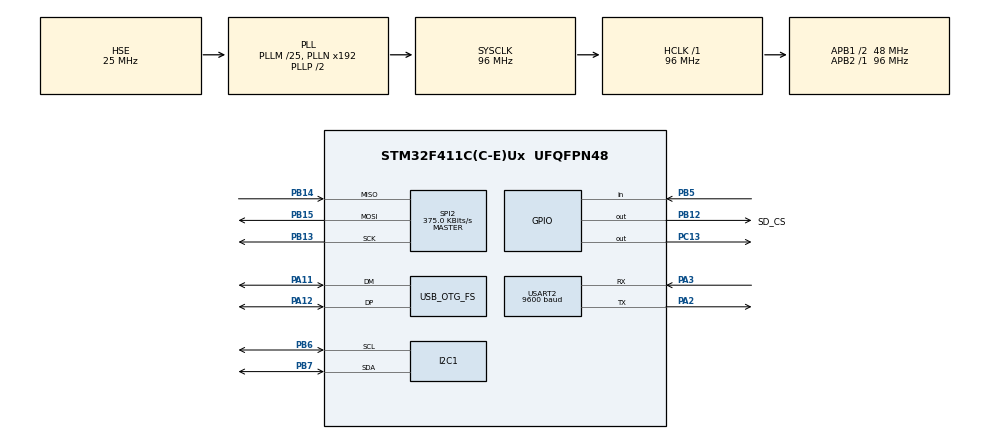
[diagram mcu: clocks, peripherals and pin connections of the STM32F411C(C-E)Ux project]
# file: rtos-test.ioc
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FREERTOS.Tasks01=blink01,24,512,StartBlink01,Default,NULL,Dynamic,NULL,NULL
FREERTOS.configCHECK_FOR_STACK_OVERFLOW=1
FREERTOS.configENABLE_FPU=1
FREERTOS.configUSE_NEWLIB_REENTRANT=1
I2C1.I2C_Mode=I2C_Fast
Mcu.Family=STM32F4
Mcu.Name=STM32F411C(C-E)Ux
Mcu.Package=UFQFPN48
NVIC.OTG_FS_IRQn=true\:5\:0\:false\:false\:true\:true\:false\:true\:true
NVIC.PriorityGroup=NVIC_PRIORITYGROUP_4
NVIC.TIM4_IRQn=true\:15\:0\:false\:false\:true\:false\:false\:true\:true
NVIC.TimeBase=TIM4_IRQn
NVIC.TimeBaseIP=TIM4
NVIC.USART2_IRQn=true\:5\:0\:false\:false\:true\:true\:true\:true\:true
PA11.Mode=Device_Only
PA11.Signal=USB_OTG_FS_DM
PA12.Mode=Device_Only
PA12.Signal=USB_OTG_FS_DP
PA2.Mode=Asynchronous
PA2.Signal=USART2_TX
PA3.Mode=Asynchronous
PA3.Signal=USART2_RX
PB12.GPIO_Label=SD_CS
PB12.Signal=GPIO_Output
PB13.GPIO_PuPd=GPIO_NOPULL
PB13.Mode=Full_Duplex_Master
PB13.Signal=SPI2_SCK
PB14.GPIO_PuPd=GPIO_NOPULL
PB14.Mode=Full_Duplex_Master
PB14.Signal=SPI2_MISO
PB15.GPIO_PuPd=GPIO_NOPULL
PB15.Mode=Full_Duplex_Master
PB15.Signal=SPI2_MOSI
PB5.Signal=GPIO_Input
PB6.Mode=I2C
PB6.Signal=I2C1_SCL
PB7.Mode=I2C
PB7.Signal=I2C1_SDA
PC13-ANTI_TAMP.Signal=GPIO_Output
PC14-OSC32_IN.Mode=LSE-External-Oscillator
PC14-OSC32_IN.Signal=RCC_OSC32_IN
PC15-OSC32_OUT.Mode=LSE-External-Oscillator
PC15-OSC32_OUT.Signal=RCC_OSC32_OUT
PH0\ -\ OSC_IN.Mode=HSE-External-Oscillator
PH0\ -\ OSC_IN.Signal=RCC_OSC_IN
PH1\ -\ OSC_OUT.Mode=HSE-External-Oscillator
PH1\ -\ OSC_OUT.Signal=RCC_OSC_OUT
ProjectManager.HeapSize=0x7D00
ProjectManager.StackSize=0x7D00
ProjectManager.TargetToolchain=STM32CubeIDE
RCC.48MHZClocksFreq_Value=48000000
RCC.AHBFreq_Value=96000000
RCC.APB1CLKDivider=RCC_HCLK_DIV2
RCC.APB1Freq_Value=48000000
RCC.APB1TimFreq_Value=96000000
RCC.APB2Freq_Value=96000000
RCC.APB2TimFreq_Value=96000000
RCC.CortexFreq_Value=96000000
RCC.HCLKFreq_Value=96000000
RCC.HSE_VALUE=25000000
RCC.HSI_VALUE=16000000
RCC.PLLM=25
RCC.SYSCLKFreq_VALUE=96000000
RCC.SYSCLKSource=RCC_SYSCLKSOURCE_PLLCLK
RCC.VCOOutputFreq_Value=192000000
SPI2.BaudRatePrescaler=SPI_BAUDRATEPRESCALER_128
SPI2.CalculateBaudRate=375.0 KBits/s
SPI2.Direction=SPI_DIRECTION_2LINES
SPI2.Mode=SPI_MODE_MASTER
SPI2.VirtualType=VM_MASTER
USART2.BaudRate=9600
USART2.VirtualMode=VM_ASYNC
USB_DEVICE.CLASS_NAME_FS=CDC
USB_DEVICE.VirtualMode=Cdc
USB_DEVICE.VirtualModeFS=Cdc_FS
USB_OTG_FS.VirtualMode=Device_Only
VP_FATFS_VS_Generic.Mode=User_defined
VP_FREERTOS_VS_CMSIS_V2.Mode=CMSIS_V2
VP_SYS_VS_tim4.Mode=TIM4
VP_USB_DEVICE_VS_USB_DEVICE_CDC_FS.Mode=CDC_FS
board=custom

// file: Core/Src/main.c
/* USER CODE BEGIN Header */
/**
  ******************************************************************************
  * @file           : main.c
  * @brief          : Main program body
  ******************************************************************************
  * @attention
  *
  * Copyright (c) 2024 STMicroelectronics.
  * All rights reserved.
  *
  * This software is licensed under terms that can be found in the LICENSE file
  * in the root directory of this software component.
  * If no LICENSE file comes with this software, it is provided AS-IS.
  *
  ******************************************************************************
  */
/* USER CODE END Header */
#include "main.h"
#include "cmsis_os.h"
#include "fatfs.h"
#include "i2c.h"
#include "spi.h"
#include "usart.h"
#include "usb_device.h"
#include "gpio.h"

/* USER CODE BEGIN Includes */
#include "sensor_hal/gps.h"
#include "sensor_hal/lsm6dso.h"
#include "sensor_hal/mpu6050.h"
/* USER CODE END Includes */

void SystemClock_Config(void);
void MX_FREERTOS_Init(void);

/* USER CODE BEGIN 0 */
void HAL_UART_RxCpltCallback(UART_HandleTypeDef *huart)
{
	if (huart == &huart2) GPS_UART_CallBack();
}
/* USER CODE END 0 */

int main(void)
{

  /* MCU Configuration--------------------------------------------------------*/

  /* Reset of all peripherals, Initializes the Flash interface and the Systick. */
  HAL_Init();

  /* Configure the system clock */
  SystemClock_Config();

  /* Initialize all configured peripherals */
  MX_GPIO_Init();
  MX_SPI2_Init();
  MX_FATFS_Init();
  MX_USART2_UART_Init();
  MX_I2C1_Init();
  /* USER CODE BEGIN 2 */
  MX_USB_DEVICE_Init();
  // GPS_Init();
  lsm6dsox_read_data_drdy_init();

  /* USER CODE END 2 */

  /* Init scheduler */
  osKernelInitialize();

  /* Call init function for freertos objects (in cmsis_os2.c) */
  MX_FREERTOS_Init();

  /* Start scheduler */
  osKernelStart();

  /* We should never get here as control is now taken by the scheduler */

  /* Infinite loop */
  while (1)
  {

  }
}

void SystemClock_Config(void)
{
  RCC_OscInitTypeDef RCC_OscInitStruct = {0};
  RCC_ClkInitTypeDef RCC_ClkInitStruct = {0};

  /** Configure the main internal regulator output voltage
  */
  __HAL_RCC_PWR_CLK_ENABLE();
  __HAL_PWR_VOLTAGESCALING_CONFIG(PWR_REGULATOR_VOLTAGE_SCALE1);

  /** Initializes the RCC Oscillators according to the specified parameters
  * in the RCC_OscInitTypeDef structure.
  */
  RCC_OscInitStruct.OscillatorType = RCC_OSCILLATORTYPE_HSE;
  RCC_OscInitStruct.HSEState = RCC_HSE_ON;
  RCC_OscInitStruct.PLL.PLLState = RCC_PLL_ON;
  RCC_OscInitStruct.PLL.PLLSource = RCC_PLLSOURCE_HSE;
  RCC_OscInitStruct.PLL.PLLM = 25;
  RCC_OscInitStruct.PLL.PLLN = 192;
  RCC_OscInitStruct.PLL.PLLP = RCC_PLLP_DIV2;
  RCC_OscInitStruct.PLL.PLLQ = 4;
  if (HAL_RCC_OscConfig(&RCC_OscInitStruct) != HAL_OK)
  {
    Error_Handler();
  }

  /** Initializes the CPU, AHB and APB buses clocks
  */
  RCC_ClkInitStruct.ClockType = RCC_CLOCKTYPE_HCLK|RCC_CLOCKTYPE_SYSCLK
                              |RCC_CLOCKTYPE_PCLK1|RCC_CLOCKTYPE_PCLK2;
  RCC_ClkInitStruct.SYSCLKSource = RCC_SYSCLKSOURCE_PLLCLK;
  RCC_ClkInitStruct.AHBCLKDivider = RCC_SYSCLK_DIV1;
  RCC_ClkInitStruct.APB1CLKDivider = RCC_HCLK_DIV2;
  RCC_ClkInitStruct.APB2CLKDivider = RCC_HCLK_DIV1;

  if (HAL_RCC_ClockConfig(&RCC_ClkInitStruct, FLASH_LATENCY_3) != HAL_OK)
  {
    Error_Handler();
  }
}

void HAL_TIM_PeriodElapsedCallback(TIM_HandleTypeDef *htim)
{
  if (htim->Instance == TIM4) {
    HAL_IncTick();
  }
}

void Error_Handler(void)
{
  __disable_irq();
  while (1)
  {
  }
}

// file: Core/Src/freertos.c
/* USER CODE BEGIN Header */
/**
  ******************************************************************************
  * File Name          : freertos.c
  * Description        : Code for freertos applications
  ******************************************************************************
  * @attention
  *
  * Copyright (c) 2024 STMicroelectronics.
  * All rights reserved.
  *
  * This software is licensed under terms that can be found in the LICENSE file
  * in the root directory of this software component.
  * If no LICENSE file comes with this software, it is provided AS-IS.
  *
  ******************************************************************************
  */
/* USER CODE END Header */

#include "FreeRTOS.h"
#include "task.h"
#include "main.h"
#include "cmsis_os.h"

/* USER CODE BEGIN Includes */
#include "sensor_hal/gps.h"
#include "sensor_hal/lsm6dso.h"
#include "sensor_hal/mpu6050.h"
#include "utils.h"
#include <stdbool.h>
#include <stdio.h>
#include <math.h>

#include "user/logging.h"
/* USER CODE END Includes */

/* USER CODE BEGIN Variables */
extern GPS_t GPS;
MPU6050_t MPU6050;
/* USER CODE END Variables */
/* Definitions for blink01 */
osThreadId_t blink01Handle;
const osThreadAttr_t blink01_attributes = {
  .name = "blink01",
  .stack_size = 512 * 4,
  .priority = (osPriority_t) osPriorityNormal,
};

/* USER CODE BEGIN FunctionPrototypes */
osThreadId_t loggingTaskHandle;
const osThreadAttr_t loggingTask_attributes = {
  .name = "loggingTask",
  .stack_size = 1024 * 4,
  .priority = (osPriority_t) osPriorityAboveNormal,
};
/* USER CODE END FunctionPrototypes */

void StartBlink01(void *argument);

extern void MX_USB_DEVICE_Init(void);
void MX_FREERTOS_Init(void); /* (MISRA C 2004 rule 8.1) */

/* Hook prototypes */
void vApplicationStackOverflowHook(xTaskHandle xTask, signed char *pcTaskName);

/* USER CODE BEGIN 4 */
void vApplicationStackOverflowHook(xTaskHandle xTask, signed char *pcTaskName)
{
   /* Run time stack overflow checking is performed if
   configCHECK_FOR_STACK_OVERFLOW is defined to 1 or 2. This hook function is
   called if a stack overflow is detected. */
   __BKPT();
}
/* USER CODE END 4 */

void MX_FREERTOS_Init(void) {

  /* Create the thread(s) */
  /* creation of blink01 */
  blink01Handle = osThreadNew(StartBlink01, NULL, &blink01_attributes);

  /* USER CODE BEGIN RTOS_THREADS */
  /* add threads, ... */
  // loggingTaskHandle = osThreadNew(LoggingTask, NULL, &loggingTask_attributes);
  /* USER CODE END RTOS_THREADS */

}

void StartBlink01(void *argument)
{
  /* init code for USB_DEVICE */
  MX_USB_DEVICE_Init();
  /* USER CODE BEGIN StartBlink01 */
  /* Infinite loop */
  for(;;)
  {
    lsm6dsox_read_data_drdy_handler();

    HAL_GPIO_TogglePin(GPIOC, GPIO_PIN_13);
    osDelay(1000);
  }
  /* USER CODE END StartBlink01 */
}
